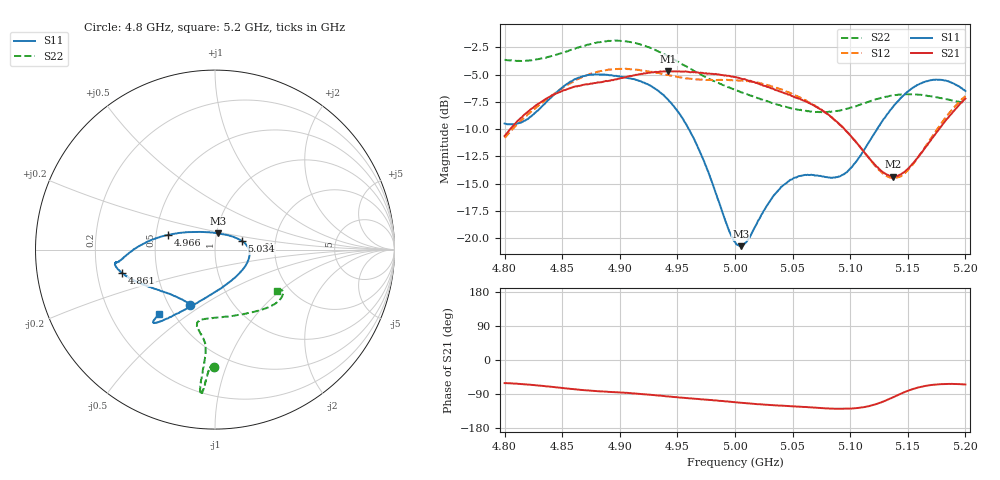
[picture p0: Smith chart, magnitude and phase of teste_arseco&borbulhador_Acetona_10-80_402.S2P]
! Network Analyzer HP8722D
! Hewlett-Packard
! Data name: Linha & Wilkinson
! Saver's name: Rodrigo Anjos
! Comments: Teste da utilização de aquisição
! continua pelo VNA HP8722D
! Time and date: 17/4/2025 17:42
!  Frequency  S11  S21  S12  S22
# HZ  S  MA R 50
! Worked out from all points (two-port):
!   401 points, 4.8 GHz to 5.2 GHz, reference 50 ohm
!   highest |S21| = -4.70 dB at 4.942 GHz (marker M1); lowest = -14.3 dB at 5.137 GHz (marker M2)
!   |S21| within 3 dB of the highest: 4.829 GHz to 5.066 GHz (236.8 MHz wide, 4.79 % of centre); 5.195254 GHz to end of sweep
!   lowest |S11| = -20.7 dB at 5.005 GHz (marker M3), VSWR 1.20, Z = 50.7 + j9.27 ohm
!   |S11| at or under -10 dB: 4.96 GHz to 5.123 GHz (163.3 MHz wide, 3.24 % of centre)
!   |S22| runs from -8.5 to -1.9 dB; largest |S21 - S12| = 0.87
!   S11 on the Smith chart (normalised r, x): 4.8 GHz: 0.64, -0.44; 4.861 GHz: 0.31, -0.11; 4.966 GHz: 0.58, +0.10; 5.034 GHz: 1.35, +0.13; 5.2 GHz: 0.42, -0.39
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4.8e9  0.3355 -114.0  0.2941 -61.0  0.2883 -175.1  0.6565 -90.3
4.819e9  0.3495 -134.0  0.3748 -64.4  0.3632 -174.0  0.6518 -91.8
4.861e9  0.5352 -165.9  0.4946 -77.4  0.5282 -177.2  0.7381 -94.2
4.867e9  0.5504 -168.3  0.5024 -79.2  0.5462 -178.4  0.757 -94.3
4.898e9  0.5522 -172.6  0.536 -85.3  0.5955 175.3  0.8045 -95.6
4.934e9  0.4707 -178.4  0.5787 -93.9  0.5713 171.6  0.7142 -96.0
4.942e9  0.431 178.0  0.5821 -96.2  0.5593 171.5  0.6808 -95.8
4.966e9  0.2737 162.6  0.5746 -102.5  0.5348 173.4  0.5785 -95.1
5e9  0.09615 99.3  0.5479 -111.4  0.5303 175.8  0.4777 -99.2
5.005e9  0.09193 80.7  0.539 -112.8  0.5277 175.8  0.4668 -100.4
5.011e9  0.09793 60.2  0.5292 -114.5  0.5248 175.5  0.4556 -101.7
5.034e9  0.1577 18.0  0.4812 -119.4  0.4941 174.4  0.4142 -103.4
5.05e9  0.1869 1.9  0.448 -122.2  0.4564 173.9  0.3929 -99.4
5.067e9  0.1948 -16.3  0.4105 -125.1  0.4137 173.3  0.3795 -90.3
5.096e9  0.1992 -67.1  0.3121 -128.7  0.3119 174.5  0.3903 -67.6
5.123e9  0.3149 -108.7  0.2124 -116.0  0.2113 -170.4  0.4343 -48.6
5.134e9  0.381 -117.5  0.1931 -102.7  0.19 -155.7  0.4486 -43.0
5.137e9  0.3987 -119.2  0.1917 -98.7  0.1884 -150.9  0.4515 -41.8
5.15e9  0.4692 -125.0  0.2075 -81.5  0.2045 -131.1  0.4568 -36.9
5.17e9  0.5294 -129.5  0.2809 -66.1  0.2867 -112.3  0.4472 -32.2
5.184e9  0.5256 -130.7  0.3524 -63.3  0.3641 -107.5  0.4332 -31.2
5.2e9  0.4726 -131.0  0.4361 -64.8  0.4479 -106.9  0.4156 -33.6
